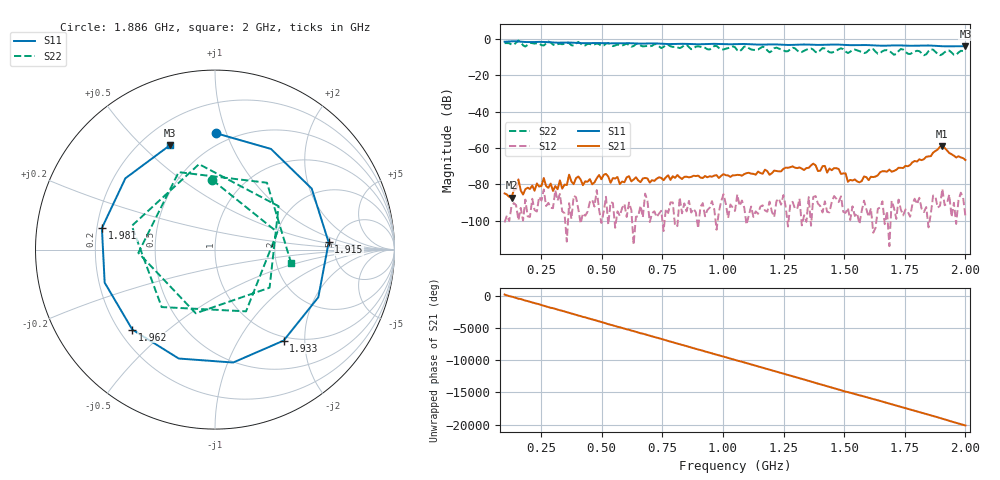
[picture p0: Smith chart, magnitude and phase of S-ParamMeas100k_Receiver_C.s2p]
!Keysight Technologies,N5242B,MY48420967,A.15.65.19
!Date: Saturday, February 04, 2023 08:29:06
!Correction: S11(C  1-Port  )
!S21(Off)
!S12(Off)
!S22(Off)
!S2P File: Measurements: S11, S21, S12, S22:
# Hz S  dB  R 50
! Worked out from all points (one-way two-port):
!   201 points, 100 MHz to 2 GHz, reference 50 ohm
!   highest |S21| = -58.74 dB at 1.905 GHz (marker M1); lowest = -87.3 dB at 128.5 MHz (marker M2)
!   lowest |S11| = -4.0 dB at 2 GHz (marker M3), VSWR 4.45, Z = 15.7 + j30.5 ohm
!   |S11| at or under -10 dB: nowhere
!   |S22| runs from -8.9 to -0.7 dB; largest |S21 - S12| = 0.0012
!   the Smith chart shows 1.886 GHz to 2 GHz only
!   S11 on the Smith chart (normalised r, x): 1.886 GHz: 0.41, +0.92; 1.915 GHz: 4.39, +0.59; 1.933 GHz: 0.93, -1.59; 1.962 GHz: 0.25, -0.38; 1.981 GHz: 0.22, +0.09; 2 GHz: 0.31, +0.61
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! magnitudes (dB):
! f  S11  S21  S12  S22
! 100 MHz  -1.4  -84.9  -100.9  -2.2
! 128.5 MHz  -1.2  -87.3  -92.0  -2.9
! 261.5 MHz  -1.5  -76.4  -82.7  -3.5
! 356.5 MHz  -1.9  -80.3  -111.4  -1.9
! 366 MHz  -1.9  -74.6  -90.3  -2.2
! 423 MHz  -2.2  -80.4  -95.8  -3.5
! 518 MHz  -2.3  -74.2  -86.8  -2.4
! 575 MHz  -2.2  -79.7  -97.2  -3.3
! 736.5 MHz  -2.5  -76.0  -96.0  -4.0
! 1.05 GHz  -2.8  -74.9  -94.6  -4.5
! 1.373 GHz  -3.1  -68.5  -86.8  -5.9
! 1.392 GHz  -3.2  -72.6  -90.6  -7.4
! 1.478 GHz  -3.0  -71.5  -89.7  -5.6
! 1.516 GHz  -3.3  -78.5  -92.9  -7.6
! 1.687 GHz  -3.5  -71.8  -113.9  -6.4
! 1.886 GHz  -3.8  -60.7  -92.7  -8.2
! 1.905 GHz  -3.9  -58.7  -82.3  -8.3
! 1.915 GHz  -4.0  -59.8  -91.4  -7.2
! 1.933 GHz  -3.9  -62.7  -85.5  -6.3
! 1.962 GHz  -3.9  -65.1  -101.7  -8.6
! 1.981 GHz  -3.9  -65.1  -84.5  -6.4
! 2 GHz  -4.0  -66.5  -97.3  -7.3
